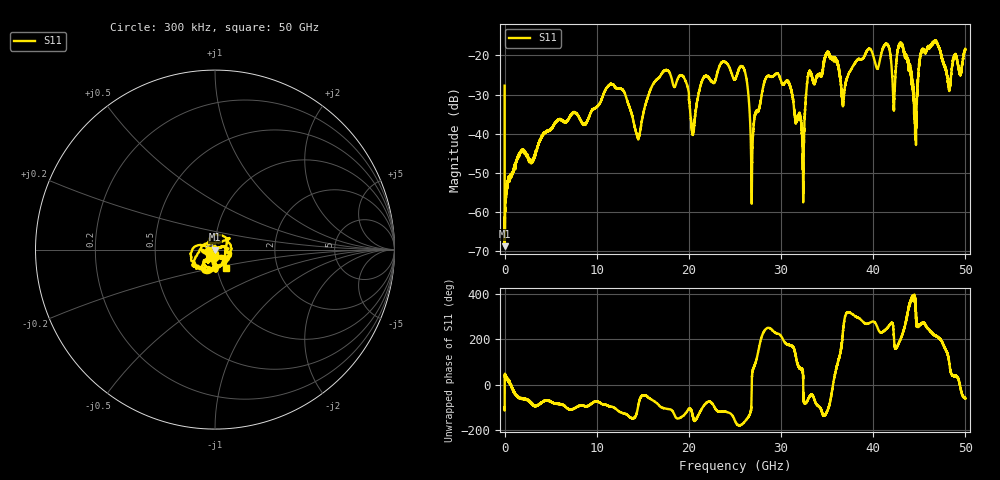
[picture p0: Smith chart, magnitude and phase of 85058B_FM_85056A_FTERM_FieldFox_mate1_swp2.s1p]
!Created with skrf (http://scikit-rf.org).
# Hz S RI R 50.0
!freq ReS11 ImS11
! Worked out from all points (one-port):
!   10001 points, 300 kHz to 50 GHz, reference 50 ohm
!   lowest |S11| = -68.8 dB at 5.3 MHz (marker M1), VSWR 1.00, Z = 50 - j0.0332 ohm
!   |S11| at or under -10 dB: start of sweep to end of sweep
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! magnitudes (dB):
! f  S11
! 300 kHz  -27.7
! 5.3 MHz  -68.8
! 255.3 MHz  -52.7
! 6.25 GHz  -36.6
! 12.5 GHz  -28.4
! 14.48 GHz  -41.2
! 16.25 GHz  -26.9
! 18.75 GHz  -26.1
! 19.7 GHz  -26.8
! 20.43 GHz  -40.3
! 21.66 GHz  -25.4
! 25 GHz  -26.1
! 26.09 GHz  -24.2
! 26.86 GHz  -47.3
! 28.46 GHz  -25.4
! 31.25 GHz  -30.5
! 32.32 GHz  -43.1
! 33.08 GHz  -24.0
! 35.12 GHz  -19.1
! 36.73 GHz  -32.3
! 37.5 GHz  -24.0
! 42.23 GHz  -33.0
! 43.75 GHz  -21.3
! 44.55 GHz  -37.6
! 45.34 GHz  -18.4
! 46.86 GHz  -16.6
! 48.23 GHz  -28.2
! 50 GHz  -18.4
